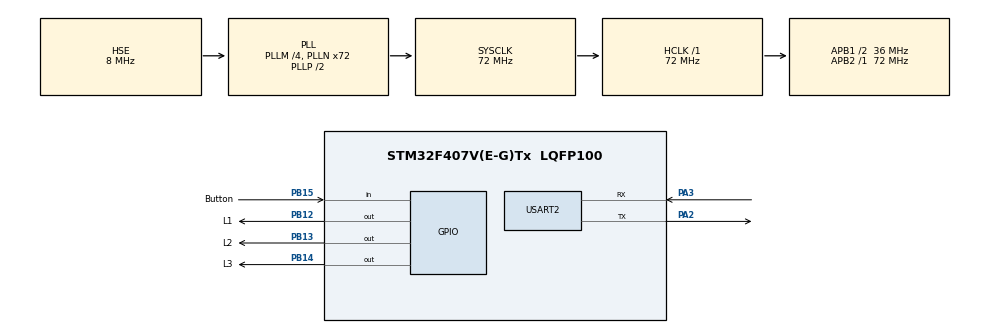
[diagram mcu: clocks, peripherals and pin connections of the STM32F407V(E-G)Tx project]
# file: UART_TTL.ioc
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Dma.Request0=USART2_RX
Dma.USART2_RX.0.Direction=DMA_PERIPH_TO_MEMORY
Dma.USART2_RX.0.FIFOMode=DMA_FIFOMODE_DISABLE
Dma.USART2_RX.0.Instance=DMA1_Stream5
Dma.USART2_RX.0.MemDataAlignment=DMA_MDATAALIGN_BYTE
Dma.USART2_RX.0.MemInc=DMA_MINC_ENABLE
Dma.USART2_RX.0.Mode=DMA_NORMAL
Dma.USART2_RX.0.PeriphDataAlignment=DMA_PDATAALIGN_BYTE
Dma.USART2_RX.0.PeriphInc=DMA_PINC_DISABLE
Dma.USART2_RX.0.Priority=DMA_PRIORITY_LOW
Mcu.Family=STM32F4
Mcu.Name=STM32F407V(E-G)Tx
Mcu.Package=LQFP100
NVIC.DMA1_Stream5_IRQn=true\:0\:0\:false\:false\:true\:false\:true
NVIC.PriorityGroup=NVIC_PRIORITYGROUP_4
PA13.Mode=Serial_Wire
PA13.Signal=SYS_JTMS-SWDIO
PA14.Mode=Serial_Wire
PA14.Signal=SYS_JTCK-SWCLK
PA2.Mode=Asynchronous
PA2.Signal=USART2_TX
PA3.Mode=Asynchronous
PA3.Signal=USART2_RX
PB12.GPIO_Label=L1
PB12.Signal=GPIO_Output
PB13.GPIO_Label=L2
PB13.Signal=GPIO_Output
PB14.GPIO_Label=L3
PB14.Signal=GPIO_Output
PB15.GPIO_Label=Button
PB15.Signal=GPIO_Input
PH0-OSC_IN.Mode=HSE-External-Oscillator
PH0-OSC_IN.Signal=RCC_OSC_IN
PH1-OSC_OUT.Mode=HSE-External-Oscillator
PH1-OSC_OUT.Signal=RCC_OSC_OUT
ProjectManager.HeapSize=0x200
ProjectManager.StackSize=0x400
ProjectManager.TargetToolchain=MDK-ARM V5.27
RCC.48MHZClocksFreq_Value=36000000
RCC.AHBFreq_Value=72000000
RCC.APB1CLKDivider=RCC_HCLK_DIV2
RCC.APB1Freq_Value=36000000
RCC.APB1TimFreq_Value=72000000
RCC.APB2Freq_Value=72000000
RCC.APB2TimFreq_Value=72000000
RCC.CortexFreq_Value=72000000
RCC.HCLKFreq_Value=72000000
RCC.HSE_VALUE=8000000
RCC.HSI_VALUE=16000000
RCC.LSE_VALUE=32768
RCC.PLLM=4
RCC.PLLN=72
RCC.PLLSourceVirtual=RCC_PLLSOURCE_HSE
RCC.SYSCLKFreq_VALUE=72000000
RCC.SYSCLKSource=RCC_SYSCLKSOURCE_PLLCLK
RCC.VCOOutputFreq_Value=144000000
USART2.VirtualMode=VM_ASYNC
board=custom

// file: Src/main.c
/* USER CODE BEGIN Header */
/**
  ******************************************************************************
  * @file           : main.c
  * @brief          : Main program body
  ******************************************************************************
  * @attention
  *
  * <h2><center>&copy; Copyright (c) 2020 STMicroelectronics.
  * All rights reserved.</center></h2>
  *
  * This software component is licensed by ST under BSD 3-Clause license,
  * the "License"; You may not use this file except in compliance with the
  * License. You may obtain a copy of the License at:
  *                        opensource.org/licenses/BSD-3-Clause
  *
  ******************************************************************************
  */
/* USER CODE END Header */

#include "main.h"

/* USER CODE BEGIN Includes */
#include "string.h"
/* USER CODE END Includes */

UART_HandleTypeDef huart2;
DMA_HandleTypeDef hdma_usart2_rx;

void SystemClock_Config(void);
static void MX_GPIO_Init(void);
static void MX_DMA_Init(void);
static void MX_USART2_UART_Init(void);

/* USER CODE BEGIN 0 */
char RX1_Char[1] = "0";
/* USER CODE END 0 */

int main(void)
{

  /* MCU Configuration--------------------------------------------------------*/

  /* Reset of all peripherals, Initializes the Flash interface and the Systick. */
  HAL_Init();

  /* Configure the system clock */
  SystemClock_Config();

  /* Initialize all configured peripherals */
  MX_GPIO_Init();
  MX_DMA_Init();
  MX_USART2_UART_Init();
  /* USER CODE BEGIN 2 */
uint8_t MSGPrs[] = "\r\n Button is Pressed ! ";
uint8_t MSGRel[] = "\r\n Button is Released ! ";

//HAL_UART_Receive_DMA(&huart2, (uint8_t *)RX1_Char, 1);
  /* USER CODE END 2 */

  /* Infinite loop */
  while (1)
  {

    /* USER CODE BEGIN 3 */
		HAL_UART_Receive_DMA(&huart2, (uint8_t *)RX1_Char, 1);
		//-----------------------
		if(HAL_GPIO_ReadPin(GPIOB, Button_Pin)){
			HAL_UART_Transmit(&huart2, (uint8_t *)MSGPrs, sizeof(MSGPrs), 100);
		}
		else {
			HAL_UART_Transmit(&huart2, MSGRel, sizeof(MSGRel), 100);
		}
		//-----------------
		if(strncmp(RX1_Char, "1", 1) == 0){
			HAL_GPIO_TogglePin(GPIOB, L1_Pin);
			HAL_UART_Receive_DMA(&huart2, (uint8_t *)RX1_Char, 1);
			*RX1_Char = '\0';
		}
		if(strncmp(RX1_Char, "2", 1) == 0){
			HAL_GPIO_TogglePin(GPIOB, L2_Pin);
			HAL_UART_Receive_DMA(&huart2, (uint8_t *)RX1_Char, 1);
			*RX1_Char = '\0';
		}
		if(strncmp(RX1_Char, "3", 1) == 0){
			HAL_GPIO_TogglePin(GPIOB, L3_Pin);
			HAL_UART_Receive_DMA(&huart2, (uint8_t *)RX1_Char, 1);
			*RX1_Char = '\0';
		}
	  if(strncmp(RX1_Char, "0", 1) == 0){
			HAL_GPIO_TogglePin(GPIOB, L1_Pin | L2_Pin | L3_Pin);
			HAL_UART_Receive_DMA(&huart2, (uint8_t *)RX1_Char, 1);
			*RX1_Char = '\0';
		}

		HAL_Delay(100);

  }
  /* USER CODE END 3 */
}

void SystemClock_Config(void)
{
  RCC_OscInitTypeDef RCC_OscInitStruct = {0};
  RCC_ClkInitTypeDef RCC_ClkInitStruct = {0};

  /** Configure the main internal regulator output voltage
  */
  __HAL_RCC_PWR_CLK_ENABLE();
  __HAL_PWR_VOLTAGESCALING_CONFIG(PWR_REGULATOR_VOLTAGE_SCALE1);
  /** Initializes the CPU, AHB and APB busses clocks
  */
  RCC_OscInitStruct.OscillatorType = RCC_OSCILLATORTYPE_HSE;
  RCC_OscInitStruct.HSEState = RCC_HSE_ON;
  RCC_OscInitStruct.PLL.PLLState = RCC_PLL_ON;
  RCC_OscInitStruct.PLL.PLLSource = RCC_PLLSOURCE_HSE;
  RCC_OscInitStruct.PLL.PLLM = 4;
  RCC_OscInitStruct.PLL.PLLN = 72;
  RCC_OscInitStruct.PLL.PLLP = RCC_PLLP_DIV2;
  RCC_OscInitStruct.PLL.PLLQ = 4;
  if (HAL_RCC_OscConfig(&RCC_OscInitStruct) != HAL_OK)
  {
    Error_Handler();
  }
  /** Initializes the CPU, AHB and APB busses clocks
  */
  RCC_ClkInitStruct.ClockType = RCC_CLOCKTYPE_HCLK|RCC_CLOCKTYPE_SYSCLK
                              |RCC_CLOCKTYPE_PCLK1|RCC_CLOCKTYPE_PCLK2;
  RCC_ClkInitStruct.SYSCLKSource = RCC_SYSCLKSOURCE_PLLCLK;
  RCC_ClkInitStruct.AHBCLKDivider = RCC_SYSCLK_DIV1;
  RCC_ClkInitStruct.APB1CLKDivider = RCC_HCLK_DIV2;
  RCC_ClkInitStruct.APB2CLKDivider = RCC_HCLK_DIV1;

  if (HAL_RCC_ClockConfig(&RCC_ClkInitStruct, FLASH_LATENCY_2) != HAL_OK)
  {
    Error_Handler();
  }
}

static void MX_USART2_UART_Init(void)
{

  huart2.Instance = USART2;
  huart2.Init.BaudRate = 115200;
  huart2.Init.WordLength = UART_WORDLENGTH_8B;
  huart2.Init.StopBits = UART_STOPBITS_1;
  huart2.Init.Parity = UART_PARITY_NONE;
  huart2.Init.Mode = UART_MODE_TX_RX;
  huart2.Init.HwFlowCtl = UART_HWCONTROL_NONE;
  huart2.Init.OverSampling = UART_OVERSAMPLING_16;
  if (HAL_UART_Init(&huart2) != HAL_OK)
  {
    Error_Handler();
  }

}

static void MX_DMA_Init(void)
{

  /* DMA controller clock enable */
  __HAL_RCC_DMA1_CLK_ENABLE();

  /* DMA interrupt init */
  /* DMA1_Stream5_IRQn interrupt configuration */
  HAL_NVIC_SetPriority(DMA1_Stream5_IRQn, 0, 0);
  HAL_NVIC_EnableIRQ(DMA1_Stream5_IRQn);

}

static void MX_GPIO_Init(void)
{
  GPIO_InitTypeDef GPIO_InitStruct = {0};

  /* GPIO Ports Clock Enable */
  __HAL_RCC_GPIOH_CLK_ENABLE();
  __HAL_RCC_GPIOA_CLK_ENABLE();
  __HAL_RCC_GPIOB_CLK_ENABLE();

  /*Configure GPIO pin Output Level */
  HAL_GPIO_WritePin(GPIOB, L1_Pin|L2_Pin|L3_Pin, GPIO_PIN_RESET);

  /*Configure GPIO pins : L1_Pin L2_Pin L3_Pin */
  GPIO_InitStruct.Pin = L1_Pin|L2_Pin|L3_Pin;
  GPIO_InitStruct.Mode = GPIO_MODE_OUTPUT_PP;
  GPIO_InitStruct.Pull = GPIO_NOPULL;
  GPIO_InitStruct.Speed = GPIO_SPEED_FREQ_LOW;
  HAL_GPIO_Init(GPIOB, &GPIO_InitStruct);

  /*Configure GPIO pin : Button_Pin */
  GPIO_InitStruct.Pin = Button_Pin;
  GPIO_InitStruct.Mode = GPIO_MODE_INPUT;
  GPIO_InitStruct.Pull = GPIO_NOPULL;
  HAL_GPIO_Init(Button_GPIO_Port, &GPIO_InitStruct);

}

/* USER CODE BEGIN 4 */

void HAL_UART_RxHalfCpltCallback(UART_HandleTypeDef *huart)
{
  /* Prevent unused argument(s) compilation warning */
  UNUSED(huart);
  /* NOTE: This function should not be modified, when the callback is needed,
           the HAL_UART_RxHalfCpltCallback could be implemented in the user file
   */
	//HAL_UART_Receive_DMA(&huart2, (uint8_t *)RX1_Char, 1);
	HAL_UART_Transmit(&huart2, (uint8_t *)RX1_Char, sizeof(RX1_Char), 1);
}

/* USER CODE END 4 */

void Error_Handler(void)
{
}

/************************ (C) COPYRIGHT STMicroelectronics *****END OF FILE****/
